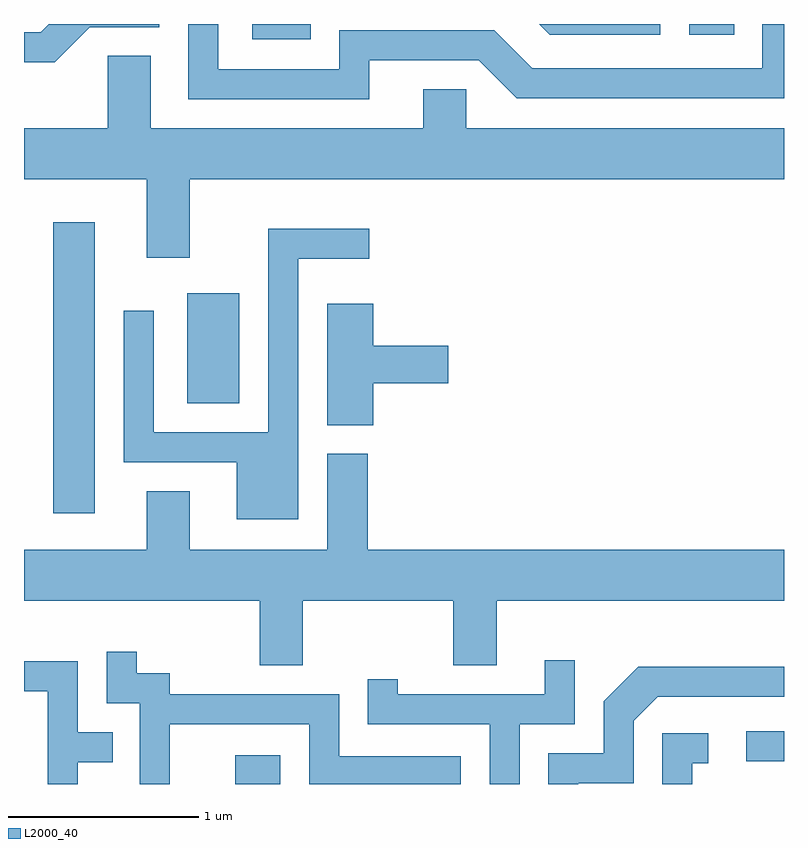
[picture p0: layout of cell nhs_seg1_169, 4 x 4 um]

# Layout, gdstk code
import gdstk
lib = gdstk.Library(unit=1e-6, precision=1e-09)
def R(c, l, rs):  # rectangles x0, y0, x1, y1
    for r in rs: c.add(gdstk.rectangle(r[:2], r[2:], *l))
def P(c, l, *ps):  # polygons
    for p in ps: c.add(gdstk.Polygon(p, *l))
L2000_40 = (2000, 40)

nhs_seg1_169 = lib.new_cell('nhs_seg1_169')
R(nhs_seg1_169, L2000_40, [(190.723,909.712,190.959,909.864), (193.413,909.831,193.611,909.989), (189.766,911.136,189.984,912.669), (190.471,911.716,190.744,912.294), (190.811,913.631,191.119,913.712), (193.111,913.656,193.348,913.712)])
P(nhs_seg1_169, L2000_40, [(191.429,913.521),(192.004,913.521),(192.204,913.321),(193.611,913.321),(193.611,913.712),(193.496,913.712),(193.496,913.479),(192.287,913.479),(192.087,913.679),(191.271,913.679),(191.271,913.474),(190.634,913.474),(190.634,913.712),(190.476,913.712),(190.476,913.316),(191.429,913.316)],
  [(192.959,913.712),(192.323,913.712),(192.379,913.656),(192.959,913.656)],
  [(189.957,913.696),(190.324,913.696),(190.324,913.712),(189.742,913.712),(189.699,913.669),(189.611,913.669),(189.611,913.511),(189.772,913.511)],
  [(190.484,912.896),(193.611,912.896),(193.611,913.164),(191.939,913.164),(191.939,913.369),(191.711,913.369),(191.711,913.164),(190.279,913.164),(190.279,913.544),(190.051,913.544),(190.051,913.164),(189.611,913.164),(189.611,912.896),(190.256,912.896),(190.256,912.481),(190.484,912.481)],
  [(191.054,912.476),(191.428,912.476),(191.428,912.634),(190.896,912.634),(190.896,911.564),(190.294,911.564),(190.294,912.203),(190.136,912.203),(190.136,911.406),(190.731,911.406),(190.731,911.106),(191.054,911.106)],
  [(191.449,911.821),(191.844,911.821),(191.844,912.019),(191.449,912.019),(191.449,912.239),(191.206,912.239),(191.206,911.601),(191.449,911.601)],
  [(191.079,910.676),(191.871,910.676),(191.871,910.336),(192.099,910.336),(192.099,910.676),(193.611,910.676),(193.611,910.944),(191.419,910.944),(191.419,911.449),(191.206,911.449),(191.206,910.944),(190.484,910.944),(190.484,911.254),(190.256,911.254),(190.256,910.944),(189.611,910.944),(189.611,910.676),(190.851,910.676),(190.851,910.336),(191.079,910.336)],
  [(190.379,910.026),(191.111,910.026),(191.111,909.712),(191.909,909.712),(191.909,909.859),(191.269,909.859),(191.269,910.184),(190.379,910.184),(190.379,910.294),(190.204,910.294),(190.204,910.408),(190.046,910.408),(190.046,910.136),(190.221,910.136),(190.221,909.712),(190.379,909.712)],
  [(192.219,910.026),(192.509,910.026),(192.509,910.363),(192.351,910.363),(192.351,910.184),(191.579,910.184),(191.579,910.263),(191.421,910.263),(191.421,910.026),(192.061,910.026),(192.061,909.712),(192.219,909.712)],
  [(189.894,909.826),(190.078,909.826),(190.078,909.984),(189.894,909.984),(189.894,910.359),(189.611,910.359),(189.611,910.201),(189.736,910.201),(189.736,909.712),(189.894,909.712)],
  [(192.529,909.716),(192.819,909.716),(192.819,910.044),(192.947,910.171),(193.611,910.171),(193.611,910.329),(192.844,910.329),(192.661,910.147),(192.661,909.874),(192.371,909.874),(192.371,909.712),(192.529,909.712)],
  [(193.129,909.821),(193.213,909.821),(193.213,909.979),(192.971,909.979),(192.971,909.712),(193.129,909.712)])

lib.write_gds('nhs_seg1_169.gds')
